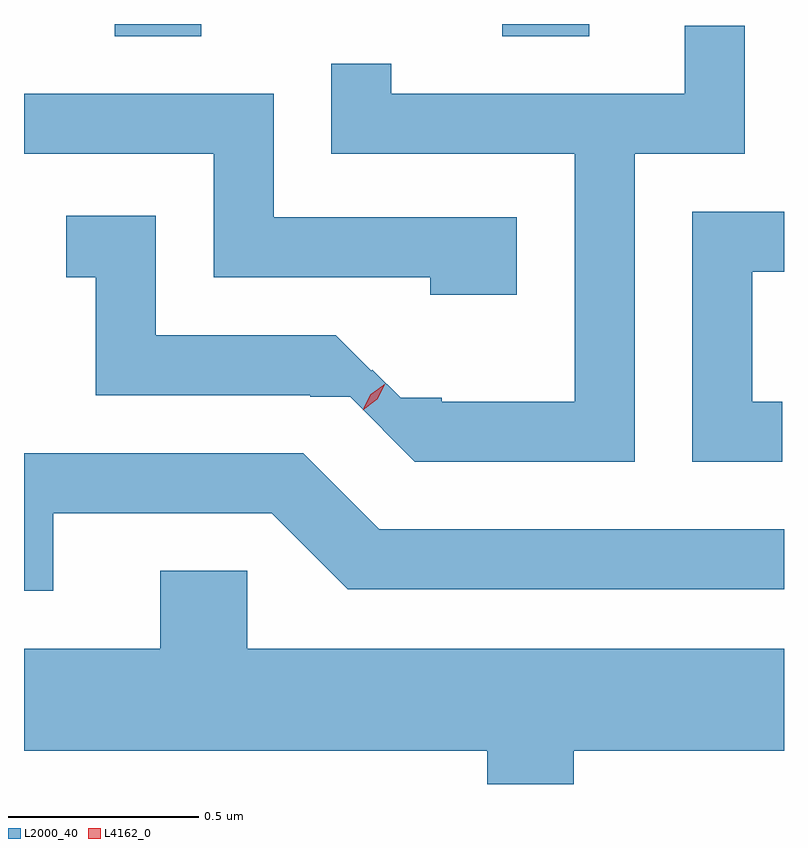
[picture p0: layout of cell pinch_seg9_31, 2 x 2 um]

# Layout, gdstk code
import gdstk
lib = gdstk.Library(unit=1e-6, precision=1e-09)
def R(c, l, rs):  # rectangles x0, y0, x1, y1
    for r in rs: c.add(gdstk.rectangle(r[:2], r[2:], *l))
def P(c, l, *ps):  # polygons
    for p in ps: c.add(gdstk.Polygon(p, *l))
L2000_40 = (2000, 40)
L4162_0 = (4162, 0)

pinch_seg9_31 = lib.new_cell('pinch_seg9_31')
R(pinch_seg9_31, L2000_40, [(846.861,1971.496,847.089,1971.528), (847.881,1971.496,848.109,1971.528)])
P(pinch_seg9_31, L2000_40, [(848.229,1971.186),(848.519,1971.186),(848.519,1971.523),(848.361,1971.523),(848.361,1971.344),(847.589,1971.344),(847.589,1971.423),(847.431,1971.423),(847.431,1971.186),(848.071,1971.186),(848.071,1970.534),(847.721,1970.534),(847.721,1970.544),(847.613,1970.544),(847.538,1970.618),(847.536,1970.616),(847.443,1970.709),(846.969,1970.709),(846.969,1971.024),(846.733,1971.024),(846.733,1970.861),(846.811,1970.861),(846.811,1970.551),(847.375,1970.551),(847.375,1970.547),(847.48,1970.547),(847.65,1970.376),(848.229,1970.376)],
  [(847.919,1971.019),(847.279,1971.019),(847.279,1971.344),(846.622,1971.344),(846.622,1971.186),(847.121,1971.186),(847.121,1970.861),(847.691,1970.861),(847.691,1970.816),(847.919,1970.816)],
  [(848.618,1970.534),(848.539,1970.534),(848.539,1970.876),(848.622,1970.876),(848.622,1971.034),(848.381,1971.034),(848.381,1970.376),(848.618,1970.376)],
  [(846.699,1970.241),(847.274,1970.241),(847.474,1970.041),(848.622,1970.041),(848.622,1970.199),(847.557,1970.199),(847.357,1970.399),(846.622,1970.399),(846.622,1970.036),(846.699,1970.036)],
  [(848.069,1969.616),(848.622,1969.616),(848.622,1969.884),(847.209,1969.884),(847.209,1970.089),(846.981,1970.089),(846.981,1969.884),(846.622,1969.884),(846.622,1969.616),(847.841,1969.616),(847.841,1969.528),(848.069,1969.528)])
P(pinch_seg9_31, L4162_0, [(847.513,1970.512),(847.513,1970.512),(847.536,1970.553),(847.572,1970.581),(847.573,1970.581),(847.573,1970.581),(847.551,1970.54),(847.514,1970.512)],
  [(847.516,1970.517),(847.516,1970.518),(847.534,1970.554),(847.567,1970.578),(847.568,1970.578),(847.568,1970.577),(847.55,1970.541),(847.517,1970.517)])

lib.write_gds('pinch_seg9_31.gds')
